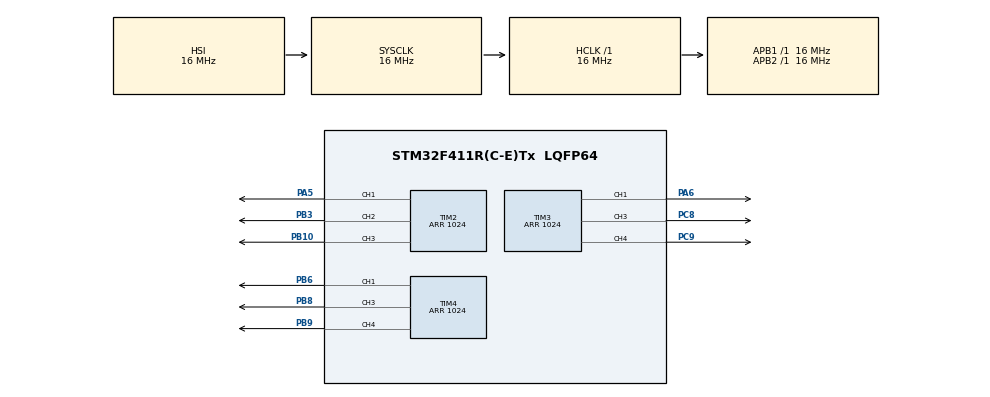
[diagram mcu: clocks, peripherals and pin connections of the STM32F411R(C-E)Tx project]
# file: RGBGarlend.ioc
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Mcu.Family=STM32F4
Mcu.Name=STM32F411R(C-E)Tx
Mcu.Package=LQFP64
NVIC.PriorityGroup=NVIC_PRIORITYGROUP_4
PA5.Signal=S_TIM2_CH1_ETR
PA6.Signal=S_TIM3_CH1
PB10.Signal=S_TIM2_CH3
PB3.Signal=S_TIM2_CH2
PB6.Signal=S_TIM4_CH1
PB8.Signal=S_TIM4_CH3
PB9.Signal=S_TIM4_CH4
PC8.Signal=S_TIM3_CH3
PC9.Signal=S_TIM3_CH4
ProjectManager.HeapSize=0x200
ProjectManager.StackSize=0x400
ProjectManager.TargetToolchain=STM32CubeIDE
RCC.AHBFreq_Value=16000000
RCC.APB1Freq_Value=16000000
RCC.APB2Freq_Value=16000000
RCC.CortexFreq_Value=16000000
RCC.HSE_VALUE=25000000
RCC.HSI_VALUE=16000000
RCC.LSE_VALUE=32768
RCC.SYSCLKFreq_VALUE=16000000
RCC.VCOOutputFreq_Value=192000000
SH.S_TIM2_CH1_ETR.0=TIM2_CH1,PWM Generation1 CH1
SH.S_TIM2_CH2.0=TIM2_CH2,PWM Generation2 CH2
SH.S_TIM2_CH3.0=TIM2_CH3,PWM Generation3 CH3
SH.S_TIM3_CH1.0=TIM3_CH1,PWM Generation1 CH1
SH.S_TIM3_CH3.0=TIM3_CH3,PWM Generation3 CH3
SH.S_TIM3_CH4.0=TIM3_CH4,PWM Generation4 CH4
SH.S_TIM4_CH1.0=TIM4_CH1,PWM Generation1 CH1
SH.S_TIM4_CH3.0=TIM4_CH3,PWM Generation3 CH3
SH.S_TIM4_CH4.0=TIM4_CH4,PWM Generation4 CH4
TIM2.Channel-PWM\ Generation1\ CH1=TIM_CHANNEL_1
TIM2.Channel-PWM\ Generation2\ CH2=TIM_CHANNEL_2
TIM2.Channel-PWM\ Generation3\ CH3=TIM_CHANNEL_3
TIM2.Period=1024
TIM2.Pulse-PWM\ Generation1\ CH1=255
TIM2.Pulse-PWM\ Generation2\ CH2=255
TIM2.Pulse-PWM\ Generation3\ CH3=255
TIM3.Channel-PWM\ Generation1\ CH1=TIM_CHANNEL_1
TIM3.Channel-PWM\ Generation3\ CH3=TIM_CHANNEL_3
TIM3.Channel-PWM\ Generation4\ CH4=TIM_CHANNEL_4
TIM3.Period=1024
TIM3.Pulse-PWM\ Generation1\ CH1=255
TIM3.Pulse-PWM\ Generation3\ CH3=255
TIM3.Pulse-PWM\ Generation4\ CH4=255
TIM4.Channel-PWM\ Generation1\ CH1=TIM_CHANNEL_1
TIM4.Channel-PWM\ Generation3\ CH3=TIM_CHANNEL_3
TIM4.Channel-PWM\ Generation4\ CH4=TIM_CHANNEL_4
TIM4.Period=1024
TIM4.Pulse-PWM\ Generation1\ CH1=255
TIM4.Pulse-PWM\ Generation3\ CH3=255
TIM4.Pulse-PWM\ Generation4\ CH4=255
VP_TIM2_VS_ClockSourceINT.Mode=Internal
VP_TIM3_VS_ClockSourceINT.Mode=Internal
VP_TIM4_VS_ClockSourceINT.Mode=Internal
board=custom

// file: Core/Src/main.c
/* USER CODE BEGIN Header */
/**
  ******************************************************************************
  * @file           : main.c
  * @brief          : Main program body
  ******************************************************************************
  * @attention
  *
  * Copyright (c) 2024 STMicroelectronics.
  * All rights reserved.
  *
  * This software is licensed under terms that can be found in the LICENSE file
  * in the root directory of this software component.
  * If no LICENSE file comes with this software, it is provided AS-IS.
  *
  ******************************************************************************
  */
/* USER CODE END Header */
#include "main.h"

/* USER CODE BEGIN Includes */
#include "RGB_LED.h"

/* USER CODE END Includes */

TIM_HandleTypeDef htim2;
TIM_HandleTypeDef htim3;
TIM_HandleTypeDef htim4;

/* USER CODE BEGIN PV */
RGB_LED_t led1;
RGB_LED_t led2;
RGB_LED_t led3;
uint32_t colors[] = {
		0xff0000, 0xffaa00,
		0x00ff00, 0x00ffff,
		0x0000ff, 0xff00ff,
		0xffffff, 0xff0000
};
uint8_t colors_size = sizeof(colors) / sizeof(uint32_t);
/* USER CODE END PV */

void SystemClock_Config(void);
static void MX_GPIO_Init(void);
static void MX_TIM2_Init(void);
static void MX_TIM3_Init(void);
static void MX_TIM4_Init(void);

int main(void)
{

  /* MCU Configuration--------------------------------------------------------*/

  /* Reset of all peripherals, Initializes the Flash interface and the Systick. */
  HAL_Init();

  /* Configure the system clock */
  SystemClock_Config();

  /* Initialize all configured peripherals */
  MX_GPIO_Init();
  MX_TIM2_Init();
  MX_TIM3_Init();
  MX_TIM4_Init();

  /* Infinite loop */
  /* USER CODE BEGIN WHILE */
  HAL_TIM_PWM_Start(&htim2, TIM_CHANNEL_1);
  HAL_TIM_PWM_Start(&htim2, TIM_CHANNEL_2);
  HAL_TIM_PWM_Start(&htim2, TIM_CHANNEL_3);

  HAL_TIM_PWM_Start(&htim3, TIM_CHANNEL_1);
  HAL_TIM_PWM_Start(&htim3, TIM_CHANNEL_3);
  HAL_TIM_PWM_Start(&htim3, TIM_CHANNEL_4);

  HAL_TIM_PWM_Start(&htim4, TIM_CHANNEL_1);
  HAL_TIM_PWM_Start(&htim4, TIM_CHANNEL_3);
  HAL_TIM_PWM_Start(&htim4, TIM_CHANNEL_4);

  RGB_LED_Init(&led1, &htim2, TIM_CHANNEL_1, TIM_CHANNEL_2, TIM_CHANNEL_3);
  RGB_LED_Init(&led2, &htim3, TIM_CHANNEL_1, TIM_CHANNEL_4, TIM_CHANNEL_3);
  RGB_LED_Init(&led3, &htim4, TIM_CHANNEL_1, TIM_CHANNEL_4, TIM_CHANNEL_3);
  RGB_LED_On(&led1);
  RGB_LED_On(&led2);
  RGB_LED_On(&led3);
  while (1)
  {
    /* USER CODE END WHILE */
	for(uint8_t i = 0; i < colors_size - 1; i++)
	{
		RGB_LED_SetColor(&led1, colors[i]);
		RGB_LED_SetColor(&led3, colors[i]);
		RGB_LED_Gradient(&led2, colors[i], colors[i + 1], 0.5, 0.01);

	}
  }
}

void SystemClock_Config(void)
{
  RCC_OscInitTypeDef RCC_OscInitStruct = {0};
  RCC_ClkInitTypeDef RCC_ClkInitStruct = {0};

  /** Configure the main internal regulator output voltage
  */
  __HAL_RCC_PWR_CLK_ENABLE();
  __HAL_PWR_VOLTAGESCALING_CONFIG(PWR_REGULATOR_VOLTAGE_SCALE1);

  /** Initializes the RCC Oscillators according to the specified parameters
  * in the RCC_OscInitTypeDef structure.
  */
  RCC_OscInitStruct.OscillatorType = RCC_OSCILLATORTYPE_HSI;
  RCC_OscInitStruct.HSIState = RCC_HSI_ON;
  RCC_OscInitStruct.HSICalibrationValue = RCC_HSICALIBRATION_DEFAULT;
  RCC_OscInitStruct.PLL.PLLState = RCC_PLL_NONE;
  if (HAL_RCC_OscConfig(&RCC_OscInitStruct) != HAL_OK)
  {
    Error_Handler();
  }

  /** Initializes the CPU, AHB and APB buses clocks
  */
  RCC_ClkInitStruct.ClockType = RCC_CLOCKTYPE_HCLK|RCC_CLOCKTYPE_SYSCLK
                              |RCC_CLOCKTYPE_PCLK1|RCC_CLOCKTYPE_PCLK2;
  RCC_ClkInitStruct.SYSCLKSource = RCC_SYSCLKSOURCE_HSI;
  RCC_ClkInitStruct.AHBCLKDivider = RCC_SYSCLK_DIV1;
  RCC_ClkInitStruct.APB1CLKDivider = RCC_HCLK_DIV1;
  RCC_ClkInitStruct.APB2CLKDivider = RCC_HCLK_DIV1;

  if (HAL_RCC_ClockConfig(&RCC_ClkInitStruct, FLASH_LATENCY_0) != HAL_OK)
  {
    Error_Handler();
  }
}

static void MX_TIM2_Init(void)
{

  TIM_ClockConfigTypeDef sClockSourceConfig = {0};
  TIM_MasterConfigTypeDef sMasterConfig = {0};
  TIM_OC_InitTypeDef sConfigOC = {0};

  htim2.Instance = TIM2;
  htim2.Init.Prescaler = 0;
  htim2.Init.CounterMode = TIM_COUNTERMODE_UP;
  htim2.Init.Period = 1024;
  htim2.Init.ClockDivision = TIM_CLOCKDIVISION_DIV1;
  htim2.Init.AutoReloadPreload = TIM_AUTORELOAD_PRELOAD_DISABLE;
  if (HAL_TIM_Base_Init(&htim2) != HAL_OK)
  {
    Error_Handler();
  }
  sClockSourceConfig.ClockSource = TIM_CLOCKSOURCE_INTERNAL;
  if (HAL_TIM_ConfigClockSource(&htim2, &sClockSourceConfig) != HAL_OK)
  {
    Error_Handler();
  }
  if (HAL_TIM_PWM_Init(&htim2) != HAL_OK)
  {
    Error_Handler();
  }
  sMasterConfig.MasterOutputTrigger = TIM_TRGO_RESET;
  sMasterConfig.MasterSlaveMode = TIM_MASTERSLAVEMODE_DISABLE;
  if (HAL_TIMEx_MasterConfigSynchronization(&htim2, &sMasterConfig) != HAL_OK)
  {
    Error_Handler();
  }
  sConfigOC.OCMode = TIM_OCMODE_PWM1;
  sConfigOC.Pulse = 255;
  sConfigOC.OCPolarity = TIM_OCPOLARITY_HIGH;
  sConfigOC.OCFastMode = TIM_OCFAST_DISABLE;
  if (HAL_TIM_PWM_ConfigChannel(&htim2, &sConfigOC, TIM_CHANNEL_1) != HAL_OK)
  {
    Error_Handler();
  }
  if (HAL_TIM_PWM_ConfigChannel(&htim2, &sConfigOC, TIM_CHANNEL_2) != HAL_OK)
  {
    Error_Handler();
  }
  if (HAL_TIM_PWM_ConfigChannel(&htim2, &sConfigOC, TIM_CHANNEL_3) != HAL_OK)
  {
    Error_Handler();
  }
  HAL_TIM_MspPostInit(&htim2);

}

static void MX_TIM3_Init(void)
{

  TIM_ClockConfigTypeDef sClockSourceConfig = {0};
  TIM_MasterConfigTypeDef sMasterConfig = {0};
  TIM_OC_InitTypeDef sConfigOC = {0};

  htim3.Instance = TIM3;
  htim3.Init.Prescaler = 0;
  htim3.Init.CounterMode = TIM_COUNTERMODE_UP;
  htim3.Init.Period = 1024;
  htim3.Init.ClockDivision = TIM_CLOCKDIVISION_DIV1;
  htim3.Init.AutoReloadPreload = TIM_AUTORELOAD_PRELOAD_DISABLE;
  if (HAL_TIM_Base_Init(&htim3) != HAL_OK)
  {
    Error_Handler();
  }
  sClockSourceConfig.ClockSource = TIM_CLOCKSOURCE_INTERNAL;
  if (HAL_TIM_ConfigClockSource(&htim3, &sClockSourceConfig) != HAL_OK)
  {
    Error_Handler();
  }
  if (HAL_TIM_PWM_Init(&htim3) != HAL_OK)
  {
    Error_Handler();
  }
  sMasterConfig.MasterOutputTrigger = TIM_TRGO_RESET;
  sMasterConfig.MasterSlaveMode = TIM_MASTERSLAVEMODE_DISABLE;
  if (HAL_TIMEx_MasterConfigSynchronization(&htim3, &sMasterConfig) != HAL_OK)
  {
    Error_Handler();
  }
  sConfigOC.OCMode = TIM_OCMODE_PWM1;
  sConfigOC.Pulse = 255;
  sConfigOC.OCPolarity = TIM_OCPOLARITY_HIGH;
  sConfigOC.OCFastMode = TIM_OCFAST_DISABLE;
  if (HAL_TIM_PWM_ConfigChannel(&htim3, &sConfigOC, TIM_CHANNEL_1) != HAL_OK)
  {
    Error_Handler();
  }
  if (HAL_TIM_PWM_ConfigChannel(&htim3, &sConfigOC, TIM_CHANNEL_3) != HAL_OK)
  {
    Error_Handler();
  }
  if (HAL_TIM_PWM_ConfigChannel(&htim3, &sConfigOC, TIM_CHANNEL_4) != HAL_OK)
  {
    Error_Handler();
  }
  HAL_TIM_MspPostInit(&htim3);

}

static void MX_TIM4_Init(void)
{

  TIM_ClockConfigTypeDef sClockSourceConfig = {0};
  TIM_MasterConfigTypeDef sMasterConfig = {0};
  TIM_OC_InitTypeDef sConfigOC = {0};

  htim4.Instance = TIM4;
  htim4.Init.Prescaler = 0;
  htim4.Init.CounterMode = TIM_COUNTERMODE_UP;
  htim4.Init.Period = 1024;
  htim4.Init.ClockDivision = TIM_CLOCKDIVISION_DIV1;
  htim4.Init.AutoReloadPreload = TIM_AUTORELOAD_PRELOAD_DISABLE;
  if (HAL_TIM_Base_Init(&htim4) != HAL_OK)
  {
    Error_Handler();
  }
  sClockSourceConfig.ClockSource = TIM_CLOCKSOURCE_INTERNAL;
  if (HAL_TIM_ConfigClockSource(&htim4, &sClockSourceConfig) != HAL_OK)
  {
    Error_Handler();
  }
  if (HAL_TIM_PWM_Init(&htim4) != HAL_OK)
  {
    Error_Handler();
  }
  sMasterConfig.MasterOutputTrigger = TIM_TRGO_RESET;
  sMasterConfig.MasterSlaveMode = TIM_MASTERSLAVEMODE_DISABLE;
  if (HAL_TIMEx_MasterConfigSynchronization(&htim4, &sMasterConfig) != HAL_OK)
  {
    Error_Handler();
  }
  sConfigOC.OCMode = TIM_OCMODE_PWM1;
  sConfigOC.Pulse = 255;
  sConfigOC.OCPolarity = TIM_OCPOLARITY_HIGH;
  sConfigOC.OCFastMode = TIM_OCFAST_DISABLE;
  if (HAL_TIM_PWM_ConfigChannel(&htim4, &sConfigOC, TIM_CHANNEL_1) != HAL_OK)
  {
    Error_Handler();
  }
  if (HAL_TIM_PWM_ConfigChannel(&htim4, &sConfigOC, TIM_CHANNEL_3) != HAL_OK)
  {
    Error_Handler();
  }
  if (HAL_TIM_PWM_ConfigChannel(&htim4, &sConfigOC, TIM_CHANNEL_4) != HAL_OK)
  {
    Error_Handler();
  }
  HAL_TIM_MspPostInit(&htim4);

}

static void MX_GPIO_Init(void)
{

  /* GPIO Ports Clock Enable */
  __HAL_RCC_GPIOA_CLK_ENABLE();
  __HAL_RCC_GPIOB_CLK_ENABLE();
  __HAL_RCC_GPIOC_CLK_ENABLE();

}

void Error_Handler(void)
{
  __disable_irq();
  while (1)
  {
  }
}
